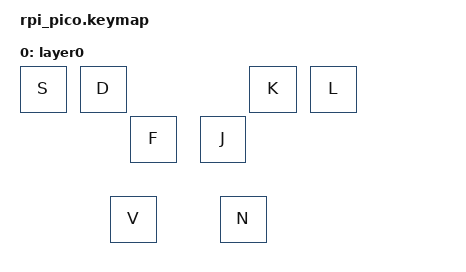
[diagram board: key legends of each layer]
#include <behaviors.dtsi>
#include <dt-bindings/zmk/keys.h>

/ {
    keymap {
        compatible = "zmk,keymap";

        layer0 {
            bindings = <
                &kp S
                &kp D
                &kp F
                &kp V
                &kp N
                &kp J
                &kp K
                &kp L
            >;
        };

        layer1 {
            status = "reserved";
        };

        layer2 {
            status = "reserved";
        };
        
        layer3 {
            status = "reserved";
        };
    };
};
